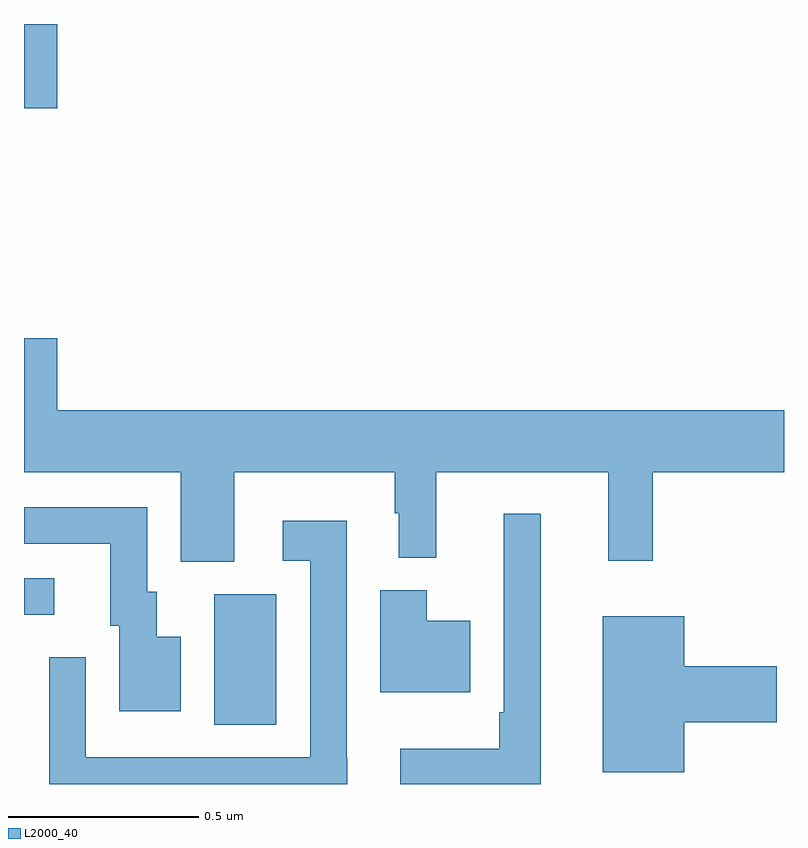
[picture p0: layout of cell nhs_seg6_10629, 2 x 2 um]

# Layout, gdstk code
import gdstk
lib = gdstk.Library(unit=1e-6, precision=1e-09)
def R(c, l, rs):  # rectangles x0, y0, x1, y1
    for r in rs: c.add(gdstk.rectangle(r[:2], r[2:], *l))
def P(c, l, *ps):  # polygons
    for p in ps: c.add(gdstk.Polygon(p, *l))
L2000_40 = (2000, 40)

nhs_seg6_10629 = lib.new_cell('nhs_seg6_10629')
R(nhs_seg6_10629, L2000_40, [(249.5,962.656,249.664,963), (249,962.946,249.079,963.042), (249,964.278,249.088,964.5)])
P(nhs_seg6_10629, L2000_40, [(249.553,963.32),(249.975,963.32),(249.975,963.213),(249.986,963.213),(249.986,963.095),(250.085,963.095),(250.085,963.32),(250.538,963.32),(250.538,963.087),(250.655,963.087),(250.655,963.32),(251,963.32),(251,963.484),(249.088,963.484),(249.088,963.673),(249,963.673),(249,963.32),(249.413,963.32),(249.413,963.085),(249.553,963.085)],
  [(249.412,962.887),(249.349,962.887),(249.349,963.006),(249.324,963.006),(249.324,963.228),(249,963.228),(249,963.132),(249.227,963.132),(249.227,962.916),(249.251,962.916),(249.251,962.691),(249.412,962.691)],
  [(250.36,963.211),(250.263,963.211),(250.263,962.689),(250.251,962.689),(250.251,962.593),(249.99,962.593),(249.99,962.5),(250.36,962.5)],
  [(249.85,962.568),(249.849,962.568),(249.849,963.193),(249.681,963.193),(249.681,963.087),(249.753,963.087),(249.753,962.571),(249.162,962.571),(249.162,962.833),(249.066,962.833),(249.066,962.578),(249.067,962.578),(249.067,962.5),(249.85,962.5)],
  [(250.174,962.929),(250.06,962.929),(250.06,963.01),(249.938,963.01),(249.938,962.741),(250.174,962.741)],
  [(250.738,962.663),(250.981,962.663),(250.981,962.81),(250.738,962.81),(250.738,962.941),(250.523,962.941),(250.523,962.531),(250.738,962.531)])

lib.write_gds('nhs_seg6_10629.gds')
